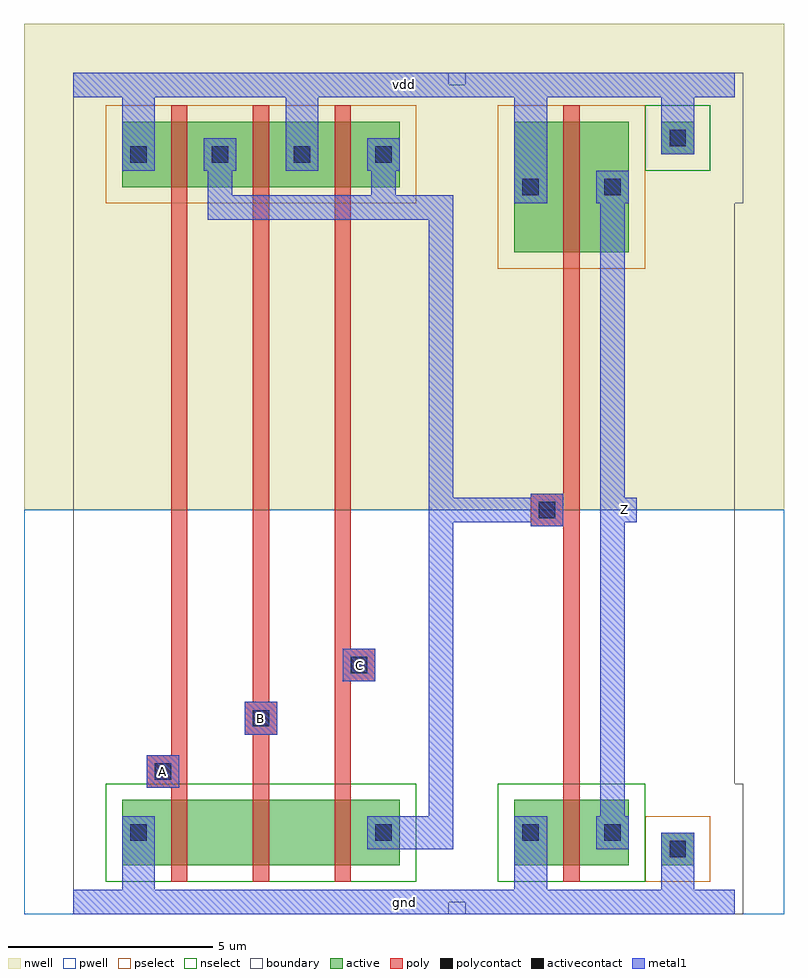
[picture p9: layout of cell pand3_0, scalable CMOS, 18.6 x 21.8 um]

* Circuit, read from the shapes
.subckt pand3_0 A B C Z gnd vdd
M1 pnand3_0_0/nmos_m1_w1_600_sm1_dactive_3/D A gnd gnd nfet w=1.6u l=0.4u
M2 pnand3_0_0/nmos_m1_w1_600_sactive_dactive_4/D B pnand3_0_0/nmos_m1_w1_600_sm1_dactive_3/D gnd nfet w=1.6u l=0.4u
M3 pdriver_3_1/A C pnand3_0_0/nmos_m1_w1_600_sactive_dactive_4/D gnd nfet w=1.6u l=0.4u
M4 Z pdriver_3_1/A gnd gnd nfet w=1.6u l=0.4u
M5 pdriver_3_1/A A vdd vdd pfet w=1.6u l=0.4u
M6 vdd B pdriver_3_1/A vdd pfet w=1.6u l=0.4u
M7 pdriver_3_1/A C vdd vdd pfet w=1.6u l=0.4u
M8 Z pdriver_3_1/A vdd vdd pfet w=3.2u l=0.4u
.ends

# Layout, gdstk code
import gdstk
lib = gdstk.Library(unit=1e-6, precision=1e-09)
def R(c, l, rs):  # rectangles x0, y0, x1, y1
    for r in rs: c.add(gdstk.rectangle(r[:2], r[2:], *l))
def A(c, l, x, y, w, h, nx, ny, dx, dy):  # array of equal rectangles
    R(c, l, [(x+i*dx, y+j*dy, x+i*dx+w, y+j*dy+h) for i in range(nx) for j in range(ny)])
pwell = (41, 0)
nwell = (42, 0)
active = (43, 0)
pselect = (44, 0)
nselect = (45, 0)
poly = (46, 0)
polycontact = (47, 0)
activecontact = (48, 0)
metal1 = (49, 0)
boundary = (63, 0)

contact_9 = lib.new_cell('contact_9')
R(contact_9, nwell, [(-1.2,-1.2,2,2)])
R(contact_9, active, [(0,0,0.8,0.8)])
R(contact_9, pselect, [(-0.4,-0.4,1.2,1.2)])
R(contact_9, activecontact, [(0.2,0.2,0.6,0.6)])
R(contact_9, metal1, [(0,0,0.8,0.8)])
R(contact_9, boundary, [(-1.2,-1.2,2,2)])

pmos_m1_w1_600_sm1_dm1 = lib.new_cell('pmos_m1_w1_600_sm1_dm1')
R(pmos_m1_w1_600_sm1_dm1, nwell, [(-1.2,-1.2,4,2.8)])
R(pmos_m1_w1_600_sm1_dm1, active, [(0,0,2.8,1.6)])
R(pmos_m1_w1_600_sm1_dm1, pselect, [(-0.4,-0.4,3.2,2)])
R(pmos_m1_w1_600_sm1_dm1, poly, [(1.2,-0.4,1.6,2), (1.2,-0.4,1.6,2)])
R(pmos_m1_w1_600_sm1_dm1, metal1, [(0,0.4,0.8,1.2), (2,0.4,2.8,1.2)])
R(pmos_m1_w1_600_sm1_dm1, boundary, [(-1.2,-1.2,4,2.8)])
pmos_m1_w1_600_sm1_dm1.add(gdstk.Reference(contact_9, (0,0.4)))
pmos_m1_w1_600_sm1_dm1.add(gdstk.Reference(contact_9, (2,0.4)))
pmos_m1_w1_600_sm1_dm1.add(gdstk.Label('G', (1.4,0.8), layer=46, texttype=0))
pmos_m1_w1_600_sm1_dm1.add(gdstk.Label('S', (0.4,0.8), layer=49, texttype=0))
pmos_m1_w1_600_sm1_dm1.add(gdstk.Label('D', (2.4,0.8), layer=49, texttype=0))

contact_14 = lib.new_cell('contact_14')
R(contact_14, pwell, [(-1.2,-1.2,2,2)])
R(contact_14, active, [(0,0,0.8,0.8)])
R(contact_14, nselect, [(-0.4,-0.4,1.2,1.2)])
R(contact_14, activecontact, [(0.2,0.2,0.6,0.6)])
R(contact_14, metal1, [(0,0,0.8,0.8)])
R(contact_14, boundary, [(-1.2,-1.2,2,2)])

nmos_m1_w1_600_sm1_dacti = lib.new_cell('nmos_m1_w1_600_sm1_dactive')
R(nmos_m1_w1_600_sm1_dacti, pwell, [(-1.2,-1.2,4,2.8)])
R(nmos_m1_w1_600_sm1_dacti, active, [(0,0,2.8,1.6), (2.1,0.5,2.7,1.1)])
R(nmos_m1_w1_600_sm1_dacti, nselect, [(-0.4,-0.4,3.2,2)])
R(nmos_m1_w1_600_sm1_dacti, poly, [(1.2,-0.4,1.6,2), (1.2,-0.4,1.6,2)])
R(nmos_m1_w1_600_sm1_dacti, metal1, [(0,0.4,0.8,1.2)])
R(nmos_m1_w1_600_sm1_dacti, boundary, [(-1.2,-1.2,4,2.8)])
nmos_m1_w1_600_sm1_dacti.add(gdstk.Reference(contact_14, (0,0.4)))
nmos_m1_w1_600_sm1_dacti.add(gdstk.Label('G', (1.4,0.8), layer=46, texttype=0))
nmos_m1_w1_600_sm1_dacti.add(gdstk.Label('S', (0.4,0.8), layer=49, texttype=0))
nmos_m1_w1_600_sm1_dacti.add(gdstk.Label('D', (2.4,0.8), layer=43, texttype=0))

nmos_m1_w1_600_sactive_d = lib.new_cell('nmos_m1_w1_600_sactive_dactive')
R(nmos_m1_w1_600_sactive_d, pwell, [(-1.2,-1.2,4,2.8)])
R(nmos_m1_w1_600_sactive_d, active, [(0,0,2.8,1.6), (0.1,0.5,0.7,1.1), (2.1,0.5,2.7,1.1)])
R(nmos_m1_w1_600_sactive_d, nselect, [(-0.4,-0.4,3.2,2)])
R(nmos_m1_w1_600_sactive_d, poly, [(1.2,-0.4,1.6,2), (1.2,-0.4,1.6,2)])
R(nmos_m1_w1_600_sactive_d, boundary, [(-1.2,-1.2,4,2.8)])
nmos_m1_w1_600_sactive_d.add(gdstk.Label('G', (1.4,0.8), layer=46, texttype=0))
nmos_m1_w1_600_sactive_d.add(gdstk.Label('S', (0.4,0.8), layer=43, texttype=0))
nmos_m1_w1_600_sactive_d.add(gdstk.Label('D', (2.4,0.8), layer=43, texttype=0))

c_nmos_m1_w1_600_sactive_d = lib.new_cell('nmos_m1_w1_600_sactive_dm1')
R(c_nmos_m1_w1_600_sactive_d, pwell, [(-1.2,-1.2,4,2.8)])
R(c_nmos_m1_w1_600_sactive_d, active, [(0,0,2.8,1.6), (0.1,0.5,0.7,1.1)])
R(c_nmos_m1_w1_600_sactive_d, nselect, [(-0.4,-0.4,3.2,2)])
R(c_nmos_m1_w1_600_sactive_d, poly, [(1.2,-0.4,1.6,2), (1.2,-0.4,1.6,2)])
R(c_nmos_m1_w1_600_sactive_d, metal1, [(2,0.4,2.8,1.2)])
R(c_nmos_m1_w1_600_sactive_d, boundary, [(-1.2,-1.2,4,2.8)])
c_nmos_m1_w1_600_sactive_d.add(gdstk.Reference(contact_14, (2,0.4)))
c_nmos_m1_w1_600_sactive_d.add(gdstk.Label('G', (1.4,0.8), layer=46, texttype=0))
c_nmos_m1_w1_600_sactive_d.add(gdstk.Label('S', (0.4,0.8), layer=43, texttype=0))
c_nmos_m1_w1_600_sactive_d.add(gdstk.Label('D', (2.4,0.8), layer=49, texttype=0))

contact_10 = lib.new_cell('contact_10')
R(contact_10, poly, [(0,0,0.8,0.8)])
R(contact_10, polycontact, [(0.2,0.2,0.6,0.6)])
R(contact_10, metal1, [(0,0,0.8,0.8)])
R(contact_10, boundary, [(0,0,0.8,0.8)])

pnand3_0 = lib.new_cell('pnand3_0')
R(pnand3_0, pwell, [(-1.2,-0.3,10.8,9.6)])
R(pnand3_0, nwell, [(-1.2,9.6,10.8,21.5)])
A(pnand3_0, poly, 2.4, 2.9, 0.4, 14.2, 3, 1, 2, 0)
R(pnand3_0, poly, [(2.2,2.8,2.4,3.6), (4.4,4.1,4.6,4.9), (6.4,5.4,7,6.2)])
R(pnand3_0, metal1, [(0,-0.3,9.6,0.3), (1.2,-0.3,2,1.3), (7.6,1.3,9,2.1), (8.7,1.3,9.3,17), (1.8,2.8,2.6,3.6), (4.2,4.1,5,4.9), (6.6,5.4,7.4,6.2), (3.3,16.7,3.9,17.3), (3.6,16.7,9,17.3), (7.3,16.7,7.9,17.3), (7.6,16.7,9,17.3), (8.7,16.7,9.3,17.3), (3.3,17,3.9,18.3), (7.3,17,7.9,18.3), (1.2,17.9,2,20.3), (5.2,17.9,6,20.3), (0,19.7,9.6,20.3)])
R(pnand3_0, boundary, [(0,0,9.6,20), (0,0,9.6,20)])
pnand3_0.add(gdstk.Reference(pmos_m1_w1_600_sm1_dm1, (1.2,17.5)))
pnand3_0.add(gdstk.Reference(pmos_m1_w1_600_sm1_dm1, (3.2,17.5)))
pnand3_0.add(gdstk.Reference(pmos_m1_w1_600_sm1_dm1, (5.2,17.5)))
pnand3_0.add(gdstk.Reference(nmos_m1_w1_600_sm1_dacti, (1.2,0.9)))
pnand3_0.add(gdstk.Reference(nmos_m1_w1_600_sactive_d, (3.2,0.9)))
pnand3_0.add(gdstk.Reference(c_nmos_m1_w1_600_sactive_d, (5.2,0.9)))
pnand3_0.add(gdstk.Reference(contact_10, (1.8,2.8)))
pnand3_0.add(gdstk.Reference(contact_10, (4.2,4.1)))
pnand3_0.add(gdstk.Reference(contact_10, (6.6,5.4)))
pnand3_0.add(gdstk.Label('A', (2.2,3.2), layer=49, texttype=0))
pnand3_0.add(gdstk.Label('B', (4.6,4.5), layer=49, texttype=0))
pnand3_0.add(gdstk.Label('C', (7,5.8), layer=49, texttype=0))
pnand3_0.add(gdstk.Label('Z', (9,17), layer=49, texttype=0))
pnand3_0.add(gdstk.Label('gnd', (4.8,0), layer=49, texttype=0))
pnand3_0.add(gdstk.Label('vdd', (4.8,20), layer=49, texttype=0))

pmos_m1_w3_200_sm1_dm1_d = lib.new_cell('pmos_m1_w3_200_sm1_dm1_da_p')
R(pmos_m1_w3_200_sm1_dm1_d, nwell, [(-1.2,-1.2,4,4.4)])
R(pmos_m1_w3_200_sm1_dm1_d, active, [(0,0,2.8,3.2)])
R(pmos_m1_w3_200_sm1_dm1_d, pselect, [(-0.4,-0.4,3.2,3.6)])
R(pmos_m1_w3_200_sm1_dm1_d, poly, [(1.2,-0.4,1.6,3.6), (1.2,-0.4,1.6,3.6)])
R(pmos_m1_w3_200_sm1_dm1_d, metal1, [(0,1.2,0.8,2), (2,1.2,2.8,2)])
R(pmos_m1_w3_200_sm1_dm1_d, boundary, [(-1.2,-1.2,4,4.4)])
pmos_m1_w3_200_sm1_dm1_d.add(gdstk.Reference(contact_9, (0,1.2)))
pmos_m1_w3_200_sm1_dm1_d.add(gdstk.Reference(contact_9, (2,1.2)))
pmos_m1_w3_200_sm1_dm1_d.add(gdstk.Label('G', (1.4,1.6), layer=46, texttype=0))
pmos_m1_w3_200_sm1_dm1_d.add(gdstk.Label('S', (0.4,1.6), layer=49, texttype=0))
pmos_m1_w3_200_sm1_dm1_d.add(gdstk.Label('D', (2.4,1.6), layer=49, texttype=0))

nmos_m1_w1_600_sm1_dm1_d = lib.new_cell('nmos_m1_w1_600_sm1_dm1_da_p')
R(nmos_m1_w1_600_sm1_dm1_d, pwell, [(-1.2,-1.2,4,2.8)])
R(nmos_m1_w1_600_sm1_dm1_d, active, [(0,0,2.8,1.6)])
R(nmos_m1_w1_600_sm1_dm1_d, nselect, [(-0.4,-0.4,3.2,2)])
R(nmos_m1_w1_600_sm1_dm1_d, poly, [(1.2,-0.4,1.6,2), (1.2,-0.4,1.6,2)])
R(nmos_m1_w1_600_sm1_dm1_d, metal1, [(0,0.4,0.8,1.2), (2,0.4,2.8,1.2)])
R(nmos_m1_w1_600_sm1_dm1_d, boundary, [(-1.2,-1.2,4,2.8)])
nmos_m1_w1_600_sm1_dm1_d.add(gdstk.Reference(contact_14, (0,0.4)))
nmos_m1_w1_600_sm1_dm1_d.add(gdstk.Reference(contact_14, (2,0.4)))
nmos_m1_w1_600_sm1_dm1_d.add(gdstk.Label('G', (1.4,0.8), layer=46, texttype=0))
nmos_m1_w1_600_sm1_dm1_d.add(gdstk.Label('S', (0.4,0.8), layer=49, texttype=0))
nmos_m1_w1_600_sm1_dm1_d.add(gdstk.Label('D', (2.4,0.8), layer=49, texttype=0))

contact_15 = lib.new_cell('contact_15')
R(contact_15, nwell, [(-1.2,-1.2,2,2)])
R(contact_15, active, [(0,0,0.8,0.8)])
R(contact_15, nselect, [(-0.4,-0.4,1.2,1.2)])
R(contact_15, activecontact, [(0.2,0.2,0.6,0.6)])
R(contact_15, metal1, [(0,0,0.8,0.8)])
R(contact_15, boundary, [(-1.2,-1.2,2,2)])

contact_16 = lib.new_cell('contact_16')
R(contact_16, pwell, [(-1.2,-1.2,2,2)])
R(contact_16, active, [(0,0,0.8,0.8)])
R(contact_16, pselect, [(-0.4,-0.4,1.2,1.2)])
R(contact_16, activecontact, [(0.2,0.2,0.6,0.6)])
R(contact_16, metal1, [(0,0,0.8,0.8)])
R(contact_16, boundary, [(-1.2,-1.2,2,2)])

pinv_11 = lib.new_cell('pinv_11')
R(pinv_11, pwell, [(-1.2,-0.3,7.8,9.6)])
R(pinv_11, nwell, [(-1.2,9.6,7.8,21.5)])
R(pinv_11, poly, [(2.4,2.9,2.8,15.5), (2,9.2,2.4,10)])
R(pinv_11, metal1, [(0,-0.3,6.6,0.3), (1.2,-0.3,2,1.3), (4.8,0,5.6,1.3), (3.3,1.3,3.9,17.9), (1.6,9.2,2.4,10), (3.6,9.3,4.2,9.9), (1.2,17.1,2,20.3), (4.8,18.7,5.6,20), (0,19.7,6.6,20.3)])
R(pinv_11, boundary, [(0,0,6.6,20), (0,0,6.6,20)])
pinv_11.add(gdstk.Reference(pmos_m1_w3_200_sm1_dm1_d, (1.2,15.9)))
pinv_11.add(gdstk.Reference(nmos_m1_w1_600_sm1_dm1_d, (1.2,0.9)))
pinv_11.add(gdstk.Reference(contact_15, (4.8,18.3)))
pinv_11.add(gdstk.Reference(contact_16, (4.8,0.9)))
pinv_11.add(gdstk.Reference(contact_10, (1.6,9.2)))
pinv_11.add(gdstk.Label('A', (2,9.6), layer=49, texttype=0))
pinv_11.add(gdstk.Label('Z', (3.9,9.6), layer=49, texttype=0))
pinv_11.add(gdstk.Label('gnd', (3.3,0), layer=49, texttype=0))
pinv_11.add(gdstk.Label('vdd', (3.3,20), layer=49, texttype=0))

pdriver_3 = lib.new_cell('pdriver_3')
R(pdriver_3, pwell, [(-1.2,-0.3,7.8,9.6)])
R(pdriver_3, nwell, [(-1.2,9.6,7.8,21.5)])
R(pdriver_3, metal1, [(0,-0.3,6.6,0.3), (1.6,9.2,2.4,10), (3.6,9.3,4.2,9.9), (0,19.7,6.6,20.3)])
R(pdriver_3, boundary, [(0,0,6.6,20), (0,0,6.6,20)])
pdriver_3.add(gdstk.Reference(pinv_11, (0,0)))
pdriver_3.add(gdstk.Label('Z', (3.9,9.6), layer=49, texttype=0))
pdriver_3.add(gdstk.Label('A', (2,9.6), layer=49, texttype=0))
pdriver_3.add(gdstk.Label('gnd', (3.3,0), layer=49, texttype=0))
pdriver_3.add(gdstk.Label('vdd', (3.3,20), layer=49, texttype=0))

pand3_0 = lib.new_cell('pand3_0')
R(pand3_0, metal1, [(0,-0.3,16.2,0.3), (1.8,2.8,2.6,3.6), (4.2,4.1,5,4.9), (6.6,5.4,7.4,6.2), (8.7,9.3,9.3,9.9), (9,9.3,11.6,9.9), (13.2,9.3,13.8,9.9), (8.7,9.6,9.3,17), (0,19.7,16.2,20.3)])
R(pand3_0, boundary, [(0,0,16.2,20), (0,0,16.2,20)])
pand3_0.add(gdstk.Reference(pnand3_0, (0,0)))
pand3_0.add(gdstk.Reference(pdriver_3, (9.6,0)))
pand3_0.add(gdstk.Label('Z', (13.5,9.6), layer=49, texttype=0))
pand3_0.add(gdstk.Label('A', (2.2,3.2), layer=49, texttype=0))
pand3_0.add(gdstk.Label('B', (4.6,4.5), layer=49, texttype=0))
pand3_0.add(gdstk.Label('C', (7,5.8), layer=49, texttype=0))
pand3_0.add(gdstk.Label('gnd', (8.1,0), layer=49, texttype=0))
pand3_0.add(gdstk.Label('vdd', (8.1,20), layer=49, texttype=0))

lib.write_gds('pand3_0.gds')
